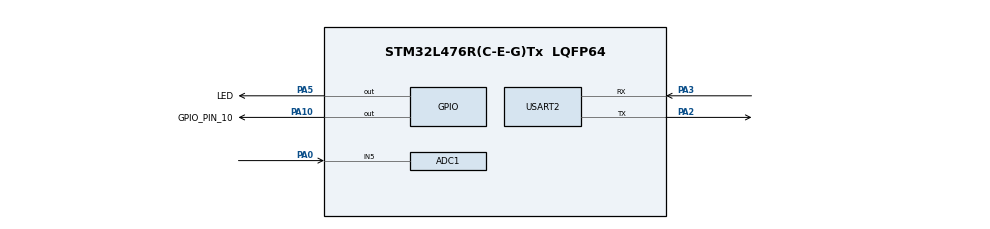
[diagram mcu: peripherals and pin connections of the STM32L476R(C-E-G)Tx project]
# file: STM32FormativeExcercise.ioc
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ADC1.Channel-2\#ChannelRegularConversion=ADC_CHANNEL_5
ADC1.NbrOfConversionFlag=1
ADC1.OffsetNumber-2\#ChannelRegularConversion=ADC_OFFSET_NONE
ADC1.Rank-2\#ChannelRegularConversion=1
ADC1.SamplingTime-2\#ChannelRegularConversion=ADC_SAMPLETIME_2CYCLES_5
ADC1.master=1
Mcu.Family=STM32L4
Mcu.Name=STM32L476R(C-E-G)Tx
Mcu.Package=LQFP64
NVIC.PriorityGroup=NVIC_PRIORITYGROUP_4
PA0.Signal=ADCx_IN5
PA10.GPIO_Label=GPIO_PIN_10
PA10.Signal=GPIO_Output
PA2.Mode=Asynchronous
PA2.Signal=USART2_TX
PA3.Mode=Asynchronous
PA3.Signal=USART2_RX
PA5.GPIO_Label=LED
PA5.Signal=GPIO_Output
ProjectManager.HeapSize=0x200
ProjectManager.StackSize=0x400
ProjectManager.TargetToolchain=STM32CubeIDE
RCC.ADCFreq_Value=32000000
RCC.HSE_VALUE=8000000
RCC.HSI_VALUE=16000000
RCC.LSE_VALUE=32768
RCC.MSI_VALUE=4000000
RCC.PLLSAI1N=16
RCC.USBFreq_Value=32000000
RCC.VCOOutputFreq_Value=32000000
SH.ADCx_IN5.0=ADC1_IN5,IN5-Single-Ended
USART2.VirtualMode-Asynchronous=VM_ASYNC
board=custom

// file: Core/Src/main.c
/* USER CODE BEGIN Header */
/**
  ******************************************************************************
  * @file           : main.c
  * @brief          : Main program body
  ******************************************************************************
  * @attention
  *
  * Copyright (c) 2022 STMicroelectronics.
  * All rights reserved.
  *
  * This software is licensed under terms that can be found in the LICENSE file
  * in the root directory of this software component.
  * If no LICENSE file comes with this software, it is provided AS-IS.
  *
  ******************************************************************************
  */
/* USER CODE END Header */
#include "main.h"

/* USER CODE BEGIN Includes */
#include <string.h>
#include <stdio.h>
/* USER CODE END Includes */

ADC_HandleTypeDef hadc1;

UART_HandleTypeDef huart2;

void SystemClock_Config(void);
static void MX_GPIO_Init(void);
static void MX_ADC1_Init(void);
static void MX_USART2_UART_Init(void);

int main(void)
{
  /* USER CODE BEGIN 1 */
	// to store adc reading
	uint16_t raw;

	uint16_t readrawPin;
	// character buffer to fill out to transmit over uarts
	char msg[10];
  /* USER CODE END 1 */

  /* MCU Configuration--------------------------------------------------------*/

  /* Reset of all peripherals, Initializes the Flash interface and the Systick. */
  HAL_Init();

  /* Configure the system clock */
  SystemClock_Config();

  /* Initialize all configured peripherals */
  MX_GPIO_Init();
  MX_ADC1_Init();
  MX_USART2_UART_Init();

  /* Infinite loop */
  /* USER CODE BEGIN WHILE */
  while (1)
  {

	  // Set GPIO high to begin the timer
	  HAL_GPIO_WritePin(GPIOA, GPIO_PIN_10, GPIO_PIN_SET);

	  // Get ADC Value
	  HAL_ADC_Start(&hadc1);
	  HAL_ADC_PollForConversion(&hadc1, HAL_MAX_DELAY);
	  raw = HAL_ADC_GetValue(&hadc1);

	  /*
	  uint8_t divi = 4096;

	  // ADC Converter
	  if (raw>0){

		  uint8_t resolution = raw/divi;

		  // Display message
		  uint8_t Test[] = "ADC Value: \r\n";
		  HAL_UART_Transmit(&huart2, Test, sizeof(Test), 10);

		  // Display resolution
		  sprintf(msg,"%d\r\n",resolution);
		  HAL_UART_Transmit(&huart2, (uint8_t *) msg, strlen(msg), HAL_MAX_DELAY);
	  }

	  readrawPin = HAL_GPIO_ReadPin(GPIOA, GPIO_PIN_10);
		*/
	  // Set GPIO pin low to stop timing
	  HAL_GPIO_WritePin(GPIOA, GPIO_PIN_10, GPIO_PIN_RESET);

	  // Rudimentary ADC
	  uint32_t digitalOutput;

	  digitalOutput = ((2^32)*raw)/3.3;
	  char digioutmsg[10];
	  uint8_t Test[] = "ADC:\r\n";
	  HAL_UART_Transmit(&huart2, Test, sizeof(Test), 10);
	  sprintf(digioutmsg,"%d\r\n",digitalOutput);
	  HAL_UART_Transmit(&huart2, (uint8_t*)msg, strlen(msg), HAL_MAX_DELAY);

	  // Convert to string and print
	  sprintf(msg,"%d\r\n",raw);
	  HAL_UART_Transmit(&huart2, (uint8_t*)msg, strlen(msg), HAL_MAX_DELAY);

	  //sprintf(msg,"%d\r\n",readrawPin);
	  //HAL_UART_Transmit(&huart2, (uint, Size, Timeout)

	  // Add a break
	  HAL_Delay(200);

	  /*
	  uint8_t Test[] = "Hello World!\r\n";
	  HAL_UART_Transmit(huart, Test, sizeof(Test), 10);
	  HAL_Delay(1000);
	  */

    /* USER CODE END WHILE */

  }
}

void SystemClock_Config(void)
{
  RCC_OscInitTypeDef RCC_OscInitStruct = {0};
  RCC_ClkInitTypeDef RCC_ClkInitStruct = {0};

  /** Configure the main internal regulator output voltage
  */
  if (HAL_PWREx_ControlVoltageScaling(PWR_REGULATOR_VOLTAGE_SCALE1) != HAL_OK)
  {
    Error_Handler();
  }

  /** Initializes the RCC Oscillators according to the specified parameters
  * in the RCC_OscInitTypeDef structure.
  */
  RCC_OscInitStruct.OscillatorType = RCC_OSCILLATORTYPE_MSI;
  RCC_OscInitStruct.MSIState = RCC_MSI_ON;
  RCC_OscInitStruct.MSICalibrationValue = 0;
  RCC_OscInitStruct.MSIClockRange = RCC_MSIRANGE_6;
  RCC_OscInitStruct.PLL.PLLState = RCC_PLL_NONE;
  if (HAL_RCC_OscConfig(&RCC_OscInitStruct) != HAL_OK)
  {
    Error_Handler();
  }

  /** Initializes the CPU, AHB and APB buses clocks
  */
  RCC_ClkInitStruct.ClockType = RCC_CLOCKTYPE_HCLK|RCC_CLOCKTYPE_SYSCLK
                              |RCC_CLOCKTYPE_PCLK1|RCC_CLOCKTYPE_PCLK2;
  RCC_ClkInitStruct.SYSCLKSource = RCC_SYSCLKSOURCE_MSI;
  RCC_ClkInitStruct.AHBCLKDivider = RCC_SYSCLK_DIV1;
  RCC_ClkInitStruct.APB1CLKDivider = RCC_HCLK_DIV1;
  RCC_ClkInitStruct.APB2CLKDivider = RCC_HCLK_DIV1;

  if (HAL_RCC_ClockConfig(&RCC_ClkInitStruct, FLASH_LATENCY_0) != HAL_OK)
  {
    Error_Handler();
  }
}

static void MX_ADC1_Init(void)
{

  ADC_MultiModeTypeDef multimode = {0};
  ADC_ChannelConfTypeDef sConfig = {0};

  /** Common config
  */
  hadc1.Instance = ADC1;
  hadc1.Init.ClockPrescaler = ADC_CLOCK_ASYNC_DIV1;
  hadc1.Init.Resolution = ADC_RESOLUTION_12B;
  hadc1.Init.DataAlign = ADC_DATAALIGN_RIGHT;
  hadc1.Init.ScanConvMode = ADC_SCAN_DISABLE;
  hadc1.Init.EOCSelection = ADC_EOC_SINGLE_CONV;
  hadc1.Init.LowPowerAutoWait = DISABLE;
  hadc1.Init.ContinuousConvMode = DISABLE;
  hadc1.Init.NbrOfConversion = 1;
  hadc1.Init.DiscontinuousConvMode = DISABLE;
  hadc1.Init.ExternalTrigConv = ADC_SOFTWARE_START;
  hadc1.Init.ExternalTrigConvEdge = ADC_EXTERNALTRIGCONVEDGE_NONE;
  hadc1.Init.DMAContinuousRequests = DISABLE;
  hadc1.Init.Overrun = ADC_OVR_DATA_PRESERVED;
  hadc1.Init.OversamplingMode = DISABLE;
  if (HAL_ADC_Init(&hadc1) != HAL_OK)
  {
    Error_Handler();
  }

  /** Configure the ADC multi-mode
  */
  multimode.Mode = ADC_MODE_INDEPENDENT;
  if (HAL_ADCEx_MultiModeConfigChannel(&hadc1, &multimode) != HAL_OK)
  {
    Error_Handler();
  }

  /** Configure Regular Channel
  */
  sConfig.Channel = ADC_CHANNEL_5;
  sConfig.Rank = ADC_REGULAR_RANK_1;
  sConfig.SamplingTime = ADC_SAMPLETIME_2CYCLES_5;
  sConfig.SingleDiff = ADC_SINGLE_ENDED;
  sConfig.OffsetNumber = ADC_OFFSET_NONE;
  sConfig.Offset = 0;
  if (HAL_ADC_ConfigChannel(&hadc1, &sConfig) != HAL_OK)
  {
    Error_Handler();
  }

}

static void MX_USART2_UART_Init(void)
{

  huart2.Instance = USART2;
  huart2.Init.BaudRate = 115200;
  huart2.Init.WordLength = UART_WORDLENGTH_8B;
  huart2.Init.StopBits = UART_STOPBITS_1;
  huart2.Init.Parity = UART_PARITY_NONE;
  huart2.Init.Mode = UART_MODE_TX_RX;
  huart2.Init.HwFlowCtl = UART_HWCONTROL_NONE;
  huart2.Init.OverSampling = UART_OVERSAMPLING_16;
  huart2.Init.OneBitSampling = UART_ONE_BIT_SAMPLE_DISABLE;
  huart2.AdvancedInit.AdvFeatureInit = UART_ADVFEATURE_NO_INIT;
  if (HAL_UART_Init(&huart2) != HAL_OK)
  {
    Error_Handler();
  }

}

static void MX_GPIO_Init(void)
{
  GPIO_InitTypeDef GPIO_InitStruct = {0};

  /* GPIO Ports Clock Enable */
  __HAL_RCC_GPIOA_CLK_ENABLE();

  /*Configure GPIO pin Output Level */
  HAL_GPIO_WritePin(GPIOA, LED_Pin|GPIO_PIN_10_Pin, GPIO_PIN_RESET);

  /*Configure GPIO pins : LED_Pin PAPin */
  GPIO_InitStruct.Pin = LED_Pin|GPIO_PIN_10_Pin;
  GPIO_InitStruct.Mode = GPIO_MODE_OUTPUT_PP;
  GPIO_InitStruct.Pull = GPIO_NOPULL;
  GPIO_InitStruct.Speed = GPIO_SPEED_FREQ_LOW;
  HAL_GPIO_Init(GPIOA, &GPIO_InitStruct);

}

void Error_Handler(void)
{
  __disable_irq();
  while (1)
  {
  }
}
